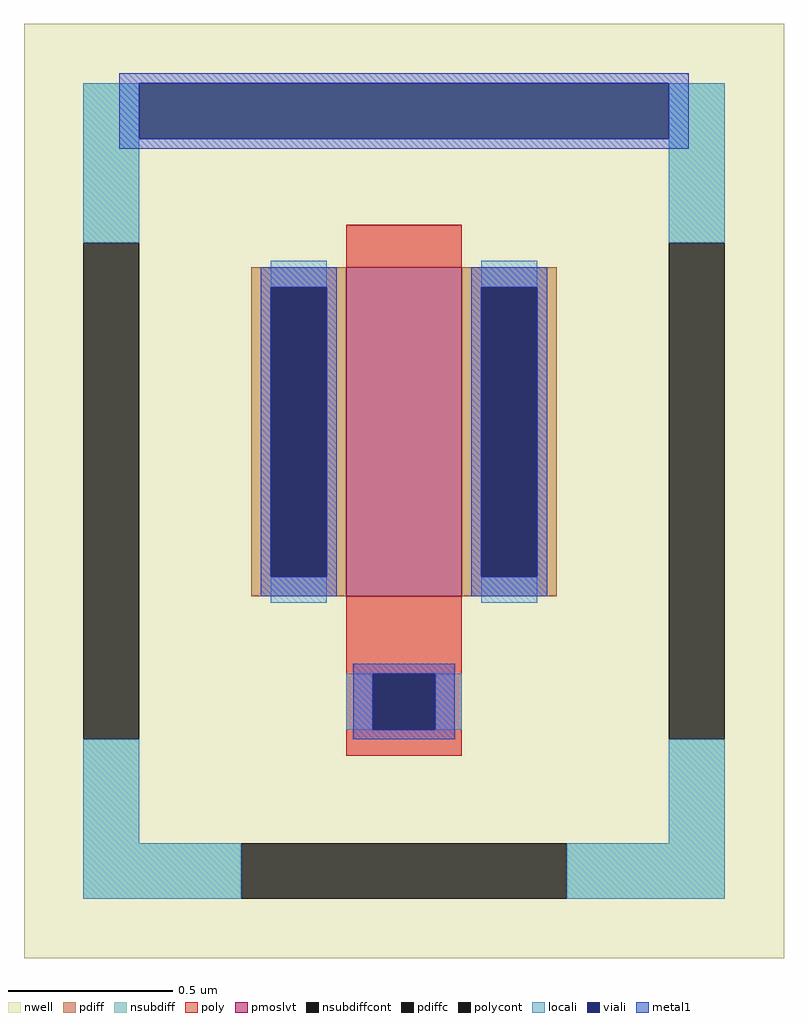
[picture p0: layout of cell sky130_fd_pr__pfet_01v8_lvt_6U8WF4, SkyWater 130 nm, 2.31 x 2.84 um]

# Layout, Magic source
magic
tech sky130A
magscale 1 2
<< nwell >>
rect -231 -284 231 284
<< pmoslvt >>
rect -35 -64 35 136
<< pdiff >>
rect -93 124 -35 136
rect -93 -52 -81 124
rect -47 -52 -35 124
rect -93 -64 -35 -52
rect 35 124 93 136
rect 35 -52 47 124
rect 81 -52 93 124
rect 35 -64 93 -52
<< pdiffc >>
rect -81 -52 -47 124
rect 47 -52 81 124
<< nsubdiff >>
rect -195 214 195 248
rect -195 151 -161 214
rect 161 151 195 214
rect -195 -214 -161 -151
rect 161 -214 195 -151
rect -195 -248 -99 -214
rect 99 -248 195 -214
<< nsubdiffcont >>
rect -195 -151 -161 151
rect 161 -151 195 151
rect -99 -248 99 -214
<< poly >>
rect -35 136 35 162
rect -35 -111 35 -64
rect -35 -145 -19 -111
rect 19 -145 35 -111
rect -35 -161 35 -145
<< polycont >>
rect -19 -145 19 -111
<< locali >>
rect -195 151 -161 248
rect 161 151 195 248
rect -81 124 -47 140
rect -81 -68 -47 -52
rect 47 124 81 140
rect 47 -68 81 -52
rect -35 -145 -19 -111
rect 19 -145 35 -111
rect -195 -214 -161 -151
rect 161 -214 195 -151
rect -195 -248 -99 -214
rect 99 -248 195 -214
<< viali >>
rect -161 214 161 248
rect -81 -52 -47 124
rect 47 -52 81 124
rect -19 -145 19 -111
<< metal1 >>
rect -173 248 173 254
rect -173 214 -161 248
rect 161 214 173 248
rect -173 208 173 214
rect -87 124 -41 136
rect -87 -52 -81 124
rect -47 -52 -41 124
rect -87 -64 -41 -52
rect 41 124 87 136
rect 41 -52 47 124
rect 81 -52 87 124
rect 41 -64 87 -52
rect -31 -111 31 -105
rect -31 -145 -19 -111
rect 19 -145 31 -111
rect -31 -151 31 -145
<< properties >>
string FIXED_BBOX -178 -231 178 231
string gencell sky130_fd_pr__pfet_01v8_lvt
string library sky130
string parameters w 1 l 0.35 m 1 nf 1 diffcov 100 polycov 100 guard 1 glc 1 grc 1 gtc 0 gbc 1 tbcov 100 rlcov 100 topc 0 botc 1 poverlap 0 doverlap 1 lmin 0.35 wmin 0.42 compatible {sky130_fd_pr__pfet_01v8  sky130_fd_pr__pfet_01v8_lvt sky130_fd_pr__pfet_01v8_hvt  sky130_fd_pr__pfet_g5v0d10v5} full_metal 1 viasrc 100 viadrn 100 viagate 100 viagb 0 viagr 0 viagl 0 viagt 100
<< end >>
